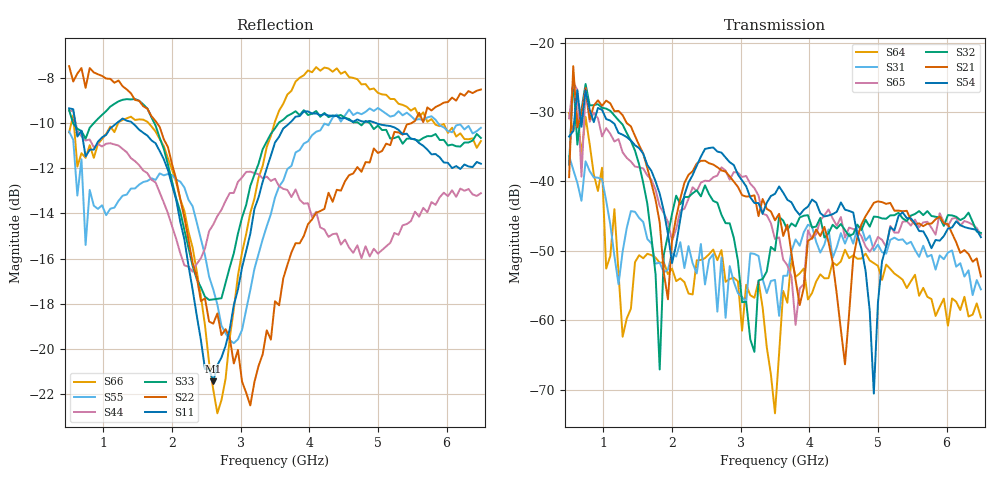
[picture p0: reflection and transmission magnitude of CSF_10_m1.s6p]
!Keysight Technologies,M9804A,MY58100912,A.14.10.03
!Date: Thursday, April 27, 2023 10:28:33
!Correction: S11(C  6-Port  )
!S12(C  6-Port  )
!S13(C  6-Port  )
!S14(C  6-Port  )
!S15(C  6-Port  )
!S16(C  6-Port  )
!S21(C  6-Port  )
!S22(C  6-Port  )
!S23(C  6-Port  )
!S24(C  6-Port  )
!S25(C  6-Port  )
!S26(C  6-Port  )
!S31(C  6-Port  )
!S32(C  6-Port  )
!S33(C  6-Port  )
!S34(C  6-Port  )
!S35(C  6-Port  )
!S36(C  6-Port  )
!S41(C  6-Port  )
!S42(C  6-Port  )
!S43(C  6-Port  )
!S44(C  6-Port  )
!S45(C  6-Port  )
!S46(C  6-Port  )
!S51(C  6-Port  )
!S52(C  6-Port  )
!S53(C  6-Port  )
!S54(C  6-Port  )
!S55(C  6-Port  )
!S56(C  6-Port  )
!S61(C  6-Port  )
!S62(C  6-Port  )
!S63(C  6-Port  )
!S64(C  6-Port  )
!S65(C  6-Port  )
!S66(C  6-Port  )
!S6P File: Measurement: :
# Hz S  RI  R 50
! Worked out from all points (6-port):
!   101 points, 500 MHz to 6.5 GHz, reference 50 ohm
!   strongest paths, dB at 500 MHz, 2 GHz, 3.5 GHz, 5 GHz, 6.5 GHz:
!     S54: -33.5, -51.8, -41.8, -57.5, -48.0
!     S21: -39.4, -48.4, -45.6, -42.9, -53.7
!     S32: -37.6, -44.7, -49.9, -45.1, -47.4
!     S65: -30.9, -48.6, -48.3, -48.0, -47.6
!     S31: -36.3, -50.3, -54.2, -49.1, -55.5
!     S64: -30.1, -52.6, -73.4, -52.2, -59.6
!   lowest |S11| = -21.4 dB at 2.6 GHz (marker M1), VSWR 1.19, Z = 42.5 + j2.17 ohm
!   |S11| at or under -10 dB: 590.3 MHz to 1.197 GHz (606.8 MHz wide, 67.9 % of centre); 1.422 GHz to 3.714 GHz (2.293 GHz wide, 89.3 % of centre); 4.967 GHz to end of sweep
